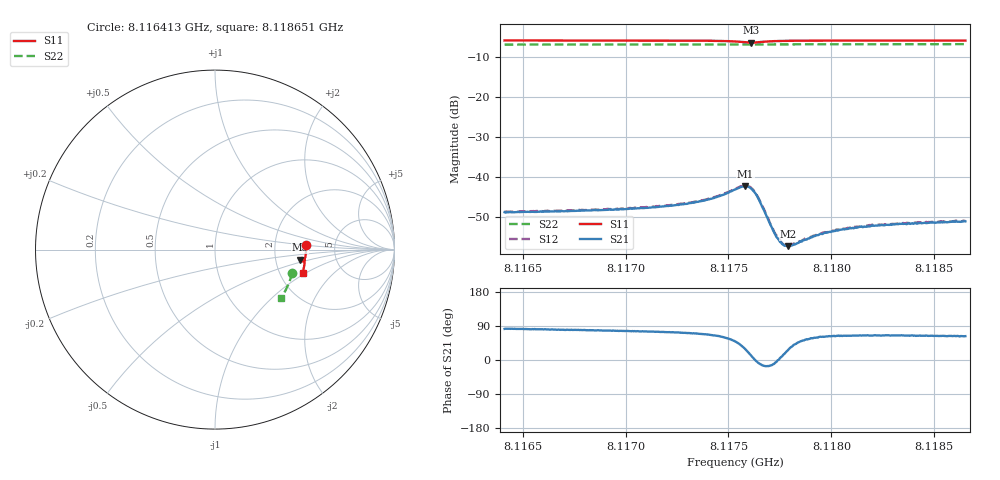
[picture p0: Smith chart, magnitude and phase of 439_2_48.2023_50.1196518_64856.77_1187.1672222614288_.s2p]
#  HZ  S  RI  R  50.00
! Rohde & Schwarz Vector Network Analyzer
! Rohde-Schwarz,ZNB20-2Port,1311601062101988,3.16
! Created: UTC 3/20/2024, 11:55:45 AM
! freq[Hz]  re:S11  im:S11  re:S21  im:S21  re:S12  im:S12  re:S22  im:S22
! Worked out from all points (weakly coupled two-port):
!   401 points, 8.116413 GHz to 8.118651 GHz, reference 50 ohm
!   highest |S21| = -42.38 dB at 8.117582 GHz (marker M1); lowest = -57.4 dB at 8.117789 GHz (marker M2)
!   lowest |S11| = -6.4 dB at 8.11761 GHz (marker M3), VSWR 2.83, Z = 138 - j19.8 ohm
!   |S11| at or under -10 dB: nowhere
!   |S22| runs from -6.9 to -6.8 dB; largest |S21 - S12| = 0.0002
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8.1164126e9  0.5065 0.028  0.000495 0.00355  0.000527 0.0036  0.4311 -0.1291
8.1167876e9  0.5067 -0.000607  0.000716 0.0037  0.000775 0.00376  0.4239 -0.1541
8.1171626e9  0.5049 -0.0302  0.00113 0.00404  0.00117 0.00414  0.4151 -0.1788
8.1172913e9  0.5034 -0.0413  0.00145 0.00433  0.00155 0.00437  0.4117 -0.1873
8.1173865e9  0.5009 -0.0501  0.00192 0.00468  0.002 0.00475  0.4091 -0.1934
8.1174648e9  0.4969 -0.0586  0.00276 0.00512  0.00285 0.0052  0.4065 -0.1986
8.117532e9  0.4885 -0.0653  0.00448 0.00523  0.00467 0.0053  0.4044 -0.2027
8.1175824e9  0.4772 -0.0631  0.00668 0.00362  0.00683 0.00365  0.4025 -0.2056
8.1176104e9  0.4741 -0.0553  0.00696 0.00142  0.0071 0.00145  0.4017 -0.2068
8.1176272e9  0.4757 -0.0504  0.00636 0.000145  0.0065 0.000123  0.4013 -0.2076
8.1176439e9  0.4797 -0.0472  0.00537 -0.000665  0.00549 -0.000716  0.4011 -0.2086
8.1177167e9  0.4943 -0.0512  0.00209 -0.000414  0.00216 -0.000464  0.3997 -0.2133
8.1177391e9  0.4962 -0.0543  0.0017 -2.06e-05  0.00169 -6.7e-05  0.3989 -0.2148
8.1177671e9  0.4977 -0.0578  0.00136 0.000341  0.00139 0.000335  0.398 -0.2166
8.1177895e9  0.4983 -0.0608  0.00121 0.000591  0.00125 0.000611  0.3976 -0.2182
8.1178119e9  0.4989 -0.0633  0.00111 0.000831  0.00112 0.000841  0.3969 -0.2196
8.117907e9  0.499 -0.0732  0.000938 0.00147  0.000958 0.0015  0.3938 -0.2257
8.1179574e9  0.4988 -0.0777  0.000915 0.00168  0.000973 0.00173  0.3921 -0.2289
8.1180357e9  0.4979 -0.0845  0.000923 0.00192  0.001 0.00193  0.3896 -0.2337
8.1181477e9  0.4966 -0.0936  0.00102 0.00213  0.00101 0.00214  0.3858 -0.2407
8.118282e9  0.4945 -0.1041  0.00105 0.00226  0.00113 0.0023  0.381 -0.2489
8.1186514e9  0.4877 -0.1316  0.00125 0.00246  0.0013 0.00248  0.3671 -0.2706
